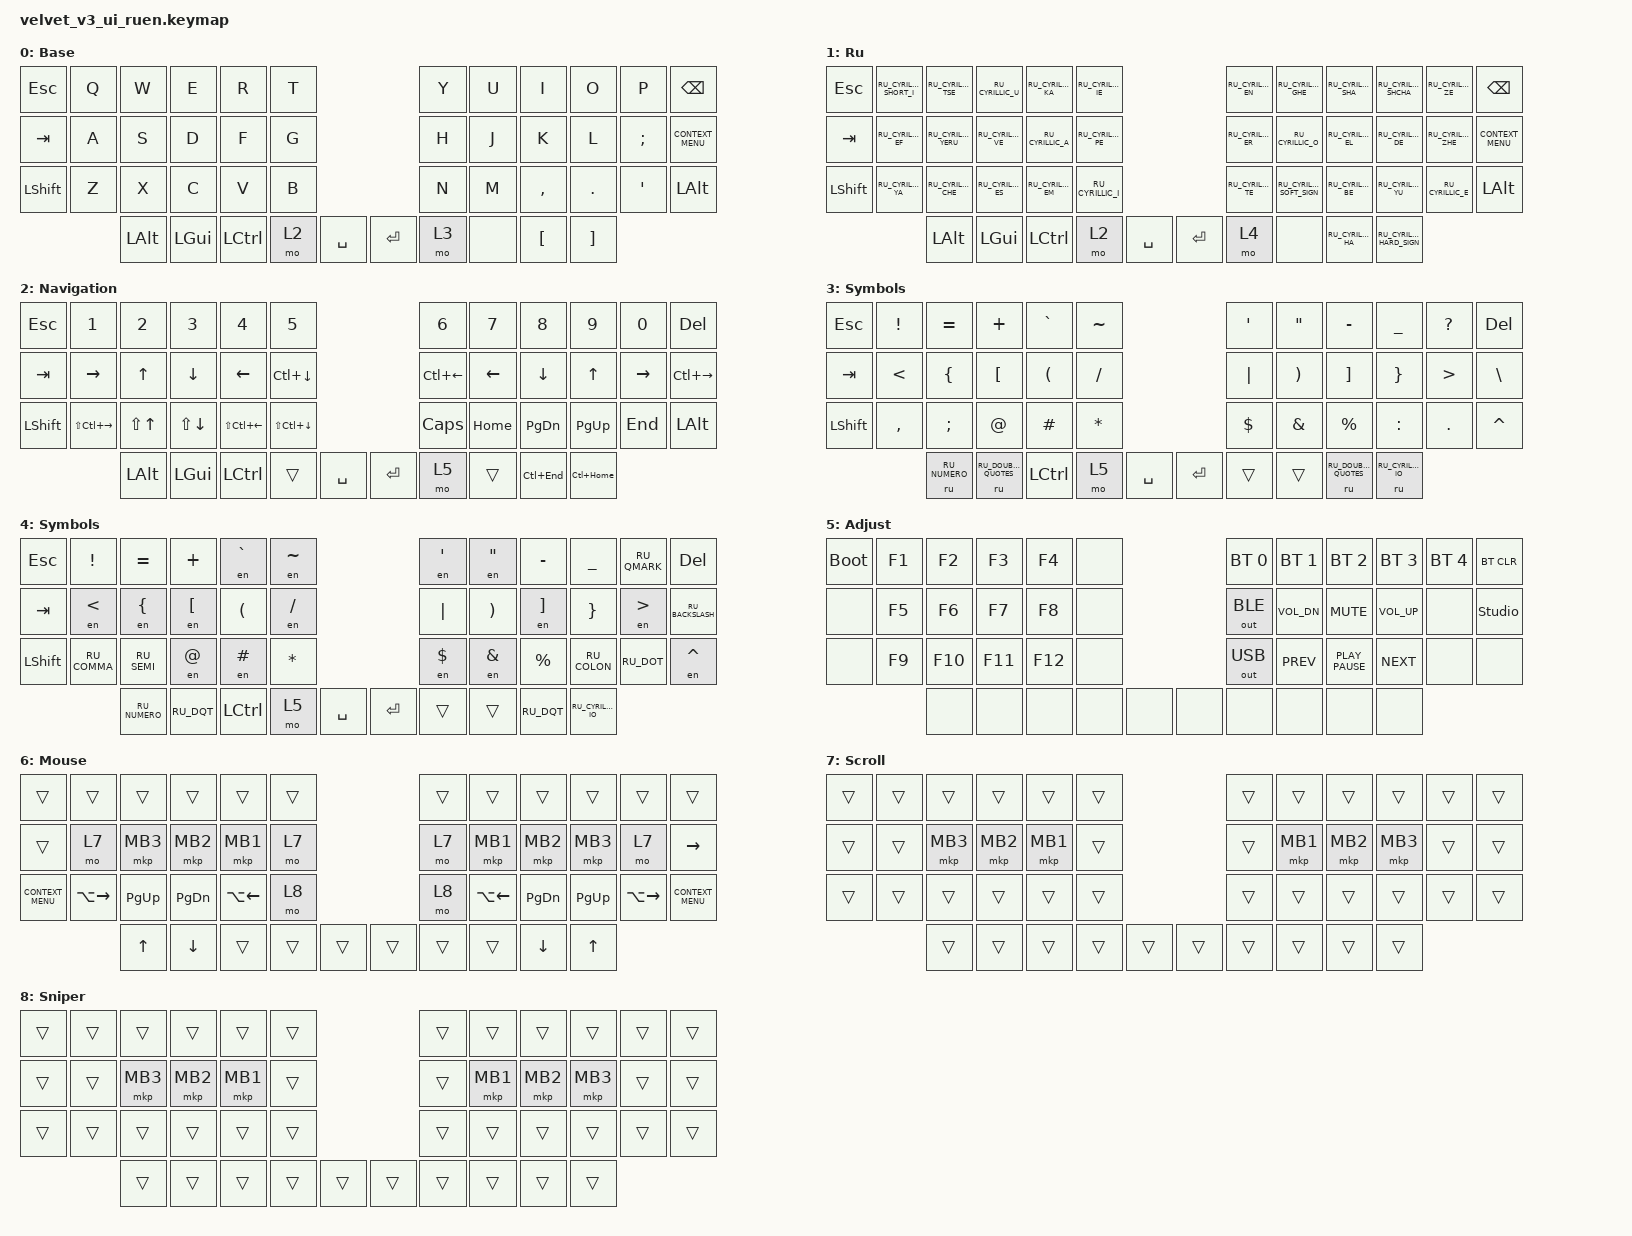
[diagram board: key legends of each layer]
#include "keys_ru.h"
#include <dt-bindings/zmk/input_transform.h>
#include <input/processors.dtsi>
#include <zephyr/dt-bindings/input/input-event-codes.h>
#include <behaviors.dtsi>
#include <dt-bindings/zmk/bt.h>
#include <dt-bindings/zmk/keys.h>
#include <dt-bindings/zmk/outputs.h>
#include <dt-bindings/zmk/pointing.h>

/ {
    behaviors {
        cap_sen: cap_sen {
            compatible = "zmk,behavior-hold-tap";
            label = "CAP_SEN";
            bindings = <&mo>, <&mkp>;

            #binding-cells = <2>;
            tapping-term-ms = <150>;
            hold-while-undecided;
        };

        mouse_layer: mouse_layer {
            compatible = "zmk,behavior-sticky-key";
            label = "MOUSE_LAYER";
            bindings = <&mo>;
            #binding-cells = <1>;
            release-after-ms = <750>;
        };

        zip_auto_mouse: zip_auto_mouse {
            compatible = "zmk,input-processor-temp-layer";
            #input-processor-cells = <2>;
            require-prior-idle-ms = <800>;
            excluded-positions = <>;
        };
    };

    combos {
        compatible = "zmk,combos";

        cmben {
            bindings = <&layer_en>;
            key-positions = <19 20>;
            layers = <1>;
        };

        cmbru {
            bindings = <&layer_ru>;
            key-positions = <16 15>;
            layers = <0>;
        };
    };

    macros {
        to_ru: to_ru {
            compatible = "zmk,behavior-macro";
            #binding-cells = <0>;
            bindings = <&kp LS(LC(N2))>;
            label = "TO_RU";
            wait-ms = <0>;
            tap-ms = <30>;
        };

        to_en: to_en {
            compatible = "zmk,behavior-macro";
            #binding-cells = <0>;
            bindings = <&kp LS(LC(N1))>;
            label = "TO_EN";
            wait-ms = <0>;
            tap-ms = <30>;
        };

        layer_en: layer_en {
            compatible = "zmk,behavior-macro";
            #binding-cells = <0>;
            bindings = <&to 0 &to_en>;
            label = "LAYER_EN";
            wait-ms = <0>;
            tap-ms = <30>;
        };

        layer_ru: layer_ru {
            compatible = "zmk,behavior-macro";
            #binding-cells = <0>;
            bindings = <&to 1 &to_ru>;
            label = "LAYER_RU";
            tap-ms = <30>;
            wait-ms = <0>;
        };

        en: en {
            compatible = "zmk,behavior-macro-one-param";
            #binding-cells = <1>;
            bindings =
                <&to_en>,
                <&macro_press>,
                <&macro_param_1to1 &kp MACRO_PLACEHOLDER>,
                <&macro_pause_for_release>,
                <&macro_release>,
                <&macro_param_1to1 &kp MACRO_PLACEHOLDER>,
                <&macro_tap>,
                <&to_ru>;

            label = "EN";
            wait-ms = <0>;
            tap-ms = <30>;
        };

        ru: ru {
            compatible = "zmk,behavior-macro-one-param";
            #binding-cells = <1>;
            bindings =
                <&to_ru>,
                <&macro_press>,
                <&macro_param_1to1 &kp MACRO_PLACEHOLDER>,
                <&macro_pause_for_release>,
                <&macro_release>,
                <&macro_param_1to1 &kp MACRO_PLACEHOLDER>,
                <&macro_tap>,
                <&to_en>;

            label = "RU";
            wait-ms = <0>;
            tap-ms = <30>;
        };
    };

    keymap {
        compatible = "zmk,keymap";

        en {
            bindings = <
&kp ESC    &kp Q  &kp W     &kp E     &kp R      &kp T                        &kp Y  &kp U  &kp I      &kp O     &kp P     &kp BSPC
&kp TAB    &kp A  &kp S     &kp D     &kp F      &kp G                        &kp H  &kp J  &kp K      &kp L     &kp SEMI  &kp K_CONTEXT_MENU
&kp LSHFT  &kp Z  &kp X     &kp C     &kp V      &kp B                        &kp N  &kp M  &kp COMMA  &kp DOT   &kp SQT   &kp LEFT_ALT
                  &kp LALT  &kp LGUI  &kp LCTRL  &mo 2  &kp SPACE    &kp RET  &mo 3  &none  &kp LBKT   &kp RBKT
            >;

            display-name = "Base";
        };

        ru {
            display-name = "Ru";
            bindings = <
&kp ESC    &kp RU_CYRILLIC_SHORT_I  &kp RU_CYRILLIC_TSE   &kp RU_CYRILLIC_U   &kp RU_CYRILLIC_KA  &kp RU_CYRILLIC_IE                        &kp RU_CYRILLIC_EN  &kp RU_CYRILLIC_GHE        &kp RU_CYRILLIC_SHA  &kp RU_CYRILLIC_SHCHA      &kp RU_CYRILLIC_ZE   &kp BSPC
&kp TAB    &kp RU_CYRILLIC_EF       &kp RU_CYRILLIC_YERU  &kp RU_CYRILLIC_VE  &kp RU_CYRILLIC_A   &kp RU_CYRILLIC_PE                        &kp RU_CYRILLIC_ER  &kp RU_CYRILLIC_O          &kp RU_CYRILLIC_EL   &kp RU_CYRILLIC_DE         &kp RU_CYRILLIC_ZHE  &kp K_CONTEXT_MENU
&kp LSHFT  &kp RU_CYRILLIC_YA       &kp RU_CYRILLIC_CHE   &kp RU_CYRILLIC_ES  &kp RU_CYRILLIC_EM  &kp RU_CYRILLIC_I                         &kp RU_CYRILLIC_TE  &kp RU_CYRILLIC_SOFT_SIGN  &kp RU_CYRILLIC_BE   &kp RU_CYRILLIC_YU         &kp RU_CYRILLIC_E    &kp LEFT_ALT
                                    &kp LALT              &kp LGUI            &kp LCTRL           &mo 2               &kp SPACE    &kp RET  &mo 4               &none                      &kp RU_CYRILLIC_HA   &kp RU_CYRILLIC_HARD_SIGN
            >;
        };

        nav {
            bindings = <
&kp ESC         &kp N1                   &kp N2            &kp N3              &kp N4                  &kp N5                                          &kp N6              &kp N7    &kp N8         &kp N9        &kp N0     &kp DELETE
&kp TAB         &kp RIGHT_ARROW          &kp UP_ARROW      &kp DOWN_ARROW      &kp LEFT_ARROW          &kp LC(DOWN_ARROW)                              &kp LC(LEFT_ARROW)  &kp LEFT  &kp DOWN       &kp UP        &kp RIGHT  &kp LC(RIGHT_ARROW)
&kp LEFT_SHIFT  &kp LS(LC(RIGHT_ARROW))  &kp LS(UP_ARROW)  &kp LS(DOWN_ARROW)  &kp LS(LC(LEFT_ARROW))  &kp LS(LC(DOWN_ARROW))                          &kp CAPS            &kp HOME  &kp PAGE_DOWN  &kp PAGE_UP   &kp END    &kp LEFT_ALT
                                         &kp LEFT_ALT      &kp LEFT_GUI        &kp LCTRL               &trans                  &kp SPACE    &kp ENTER  &mo 5               &trans    &kp LC(END)    &kp LC(HOME)
            >;

            display-name = "Navigation";
        };

        sym_en {
            bindings = <
&kp ESC         &kp EXCL   &kp EQUAL      &kp PLUS              &kp GRAVE  &kp TILDE                          &kp SQT   &kp DQT   &kp MINUS             &kp UNDER           &kp QUESTION  &kp DELETE
&kp TAB         &kp LT     &kp LBRC       &kp LBKT              &kp LPAR   &kp FSLH                           &kp PIPE  &kp RPAR  &kp RBKT              &kp RBRC            &kp GT        &kp BSLH
&kp LEFT_SHIFT  &kp COMMA  &kp SEMI       &kp AT                &kp HASH   &kp STAR                           &kp DLLR  &kp AMPS  &kp PRCNT             &kp COLON           &kp DOT       &kp CARET
                           &ru RU_NUMERO  &ru RU_DOUBLE_QUOTES  &kp LCTRL  &mo 5      &kp SPACE    &kp ENTER  &trans    &trans    &ru RU_DOUBLE_QUOTES  &ru RU_CYRILLIC_IO
            >;

            display-name = "Symbols";
        };

        sym_ru {
            display-name = "Symbols";
            bindings = <
&kp ESC         &kp EXCL      &kp EQUAL      &kp PLUS    &en GRAVE  &en TILDE                          &en SQT   &en DQT   &kp MINUS   &kp UNDER           &kp RU_QMARK  &kp DELETE
&kp TAB         &en LT        &en LBRC       &en LBKT    &kp LPAR   &en FSLH                           &kp PIPE  &kp RPAR  &en RBKT    &kp RBRC            &en GT        &kp RU_BACKSLASH
&kp LEFT_SHIFT  &kp RU_COMMA  &kp RU_SEMI    &en AT      &en HASH   &kp STAR                           &en DLLR  &en AMPS  &kp PRCNT   &kp RU_COLON        &kp RU_DOT    &en CARET
                              &kp RU_NUMERO  &kp RU_DQT  &kp LCTRL  &mo 5      &kp SPACE    &kp ENTER  &trans    &trans    &kp RU_DQT  &kp RU_CYRILLIC_IO
            >;
        };

        adj {
            bindings = <
&bootloader  &kp F1  &kp F2   &kp F3   &kp F4   &none                  &bt BT_SEL 0  &bt BT_SEL 1  &bt BT_SEL 2      &bt BT_SEL 3  &bt BT_SEL 4  &bt BT_CLR
&none        &kp F5  &kp F6   &kp F7   &kp F8   &none                  &out OUT_BLE  &kp C_VOL_DN  &kp K_MUTE        &kp C_VOL_UP  &none         &studio_unlock
&none        &kp F9  &kp F10  &kp F11  &kp F12  &none                  &out OUT_USB  &kp K_PREV    &kp K_PLAY_PAUSE  &kp K_NEXT    &none         &none
                     &none    &none    &none    &none  &none    &none  &none         &none         &none             &none
            >;

            display-name = "Adjust";
        };

        mouse {
            bindings = <
&trans              &trans               &trans        &trans          &trans              &trans                    &trans  &trans              &trans          &trans        &trans               &trans
&trans              &mo 7                &mkp MB3      &mkp MB2        &mkp MB1            &mo 7                     &mo 7   &mkp MB1            &mkp MB2        &mkp MB3      &mo 7                &kp RIGHT_ARROW
&kp K_CONTEXT_MENU  &kp LA(RIGHT_ARROW)  &kp PAGE_UP   &kp PAGE_DOWN   &kp LA(LEFT_ARROW)  &mo 8                     &mo 8   &kp LA(LEFT_ARROW)  &kp PAGE_DOWN   &kp PAGE_UP   &kp LA(RIGHT_ARROW)  &kp K_CONTEXT_MENU
                                         &kp UP_ARROW  &kp DOWN_ARROW  &trans              &trans  &trans    &trans  &trans  &trans              &kp DOWN_ARROW  &kp UP_ARROW
            >;

            display-name = "Mouse";
        };

        scroll {
            bindings = <
&trans  &trans  &trans    &trans    &trans    &trans                    &trans  &trans    &trans    &trans    &trans  &trans
&trans  &trans  &mkp MB3  &mkp MB2  &mkp MB1  &trans                    &trans  &mkp MB1  &mkp MB2  &mkp MB3  &trans  &trans
&trans  &trans  &trans    &trans    &trans    &trans                    &trans  &trans    &trans    &trans    &trans  &trans
                &trans    &trans    &trans    &trans  &trans    &trans  &trans  &trans    &trans    &trans
            >;

            display-name = "Scroll";
        };

        sniper {
            bindings = <
&trans  &trans  &trans    &trans    &trans    &trans                    &trans  &trans    &trans    &trans    &trans  &trans
&trans  &trans  &mkp MB3  &mkp MB2  &mkp MB1  &trans                    &trans  &mkp MB1  &mkp MB2  &mkp MB3  &trans  &trans
&trans  &trans  &trans    &trans    &trans    &trans                    &trans  &trans    &trans    &trans    &trans  &trans
                &trans    &trans    &trans    &trans  &trans    &trans  &trans  &trans    &trans    &trans
            >;

            display-name = "Sniper";
        };
    };
};

&trackball { cpi = <1000>; };

&trackball_listener {
    input-processors = <&zip_auto_mouse 6 500>, <&zip_xy_scaler 9 20>;

    scroller {
        layers = <7>;
        input-processors =
            <&zip_xy_transform INPUT_TRANSFORM_Y_INVERT>,
            <&zip_xy_scaler 1 32>,
            <&zip_xy_to_scroll_mapper>;
    };

    sniper {
        layers = <8>;
        input-processors = <&zip_xy_scaler 1 4>;
    };
};
